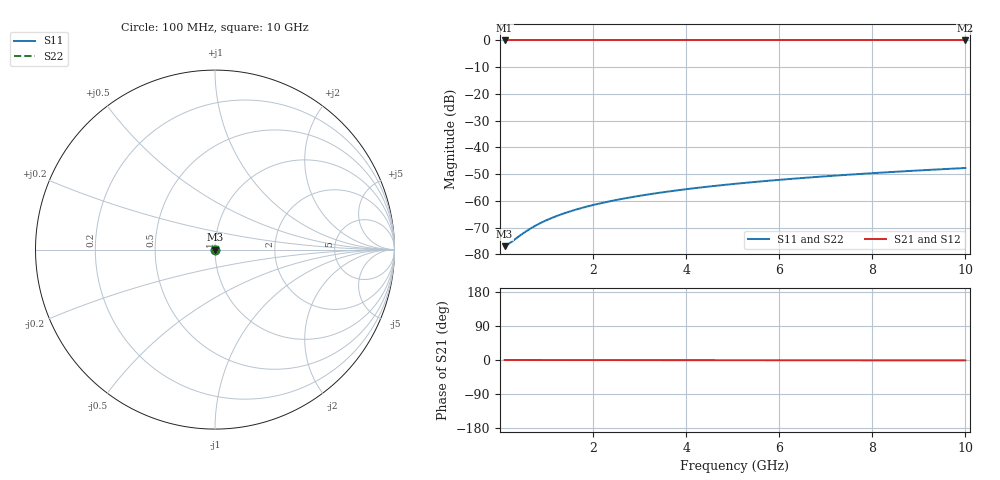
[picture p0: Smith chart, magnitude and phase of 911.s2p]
# Hz S RI R 50.00
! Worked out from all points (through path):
!   100 points, 100 MHz to 10 GHz, reference 50 ohm
!   highest |S21| = 0.00 dB at 100 MHz (marker M1); lowest = 0.0 dB at 10 GHz (marker M2)
!   lowest |S11| = -77.0 dB at 100 MHz (marker M3), VSWR 1.00, Z = 50 + j0.00411 ohm
!   |S11| at or under -10 dB: start of sweep to end of sweep
!   |S22| runs from -77.0 to -47.7 dB; largest |S21 - S12| = 0
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1e8  0.000136 4.11e-05  0.9999 -0.000182  0.9999 -0.000182  0.000136 4.11e-05
2e8  0.000137 8.21e-05  0.9999 -0.000364  0.9999 -0.000364  0.000137 8.21e-05
5e8  0.000138 0.000205  0.9999 -0.000911  0.9999 -0.000911  0.000138 0.000205
6e8  0.000139 0.000246  0.9999 -0.00109  0.9999 -0.00109  0.000139 0.000246
7e8  0.000139 0.000287  0.9999 -0.00127  0.9999 -0.00127  0.000139 0.000287
9e8  0.00014 0.00037  0.9999 -0.00164  0.9999 -0.00164  0.00014 0.00037
1.1e9  0.000141 0.000452  0.9999 -0.002  0.9999 -0.002  0.000141 0.000452
1.3e9  0.000141 0.000534  0.9999 -0.00237  0.9999 -0.00237  0.000141 0.000534
1.5e9  0.000142 0.000616  0.9999 -0.00273  0.9999 -0.00273  0.000142 0.000616
1.8e9  0.000143 0.000739  0.9998 -0.00328  0.9998 -0.00328  0.000143 0.000739
2.1e9  0.000145 0.000862  0.9998 -0.00382  0.9998 -0.00382  0.000145 0.000862
2.5e9  0.000147 0.00103  0.9998 -0.00455  0.9998 -0.00455  0.000147 0.00103
2.9e9  0.000149 0.00119  0.9998 -0.00528  0.9998 -0.00528  0.000149 0.00119
3.4e9  0.000152 0.0014  0.9998 -0.00619  0.9998 -0.00619  0.000152 0.0014
3.8e9  0.000154 0.00156  0.9998 -0.00692  0.9998 -0.00692  0.000154 0.00156
4.2e9  0.000157 0.00172  0.9998 -0.00765  0.9998 -0.00765  0.000157 0.00172
5.1e9  0.000164 0.00209  0.9998 -0.00929  0.9998 -0.00929  0.000164 0.00209
5.9e9  0.000171 0.00242  0.9998 -0.0108  0.9998 -0.0108  0.000171 0.00242
6.7e9  0.00018 0.00275  0.9998 -0.0122  0.9998 -0.0122  0.00018 0.00275
7.5e9  0.000189 0.00308  0.9997 -0.0137  0.9997 -0.0137  0.000189 0.00308
8.4e9  0.0002 0.00345  0.9997 -0.0153  0.9997 -0.0153  0.0002 0.00345
1e10  0.000224 0.00411  0.9997 -0.0183  0.9997 -0.0183  0.000224 0.00411
